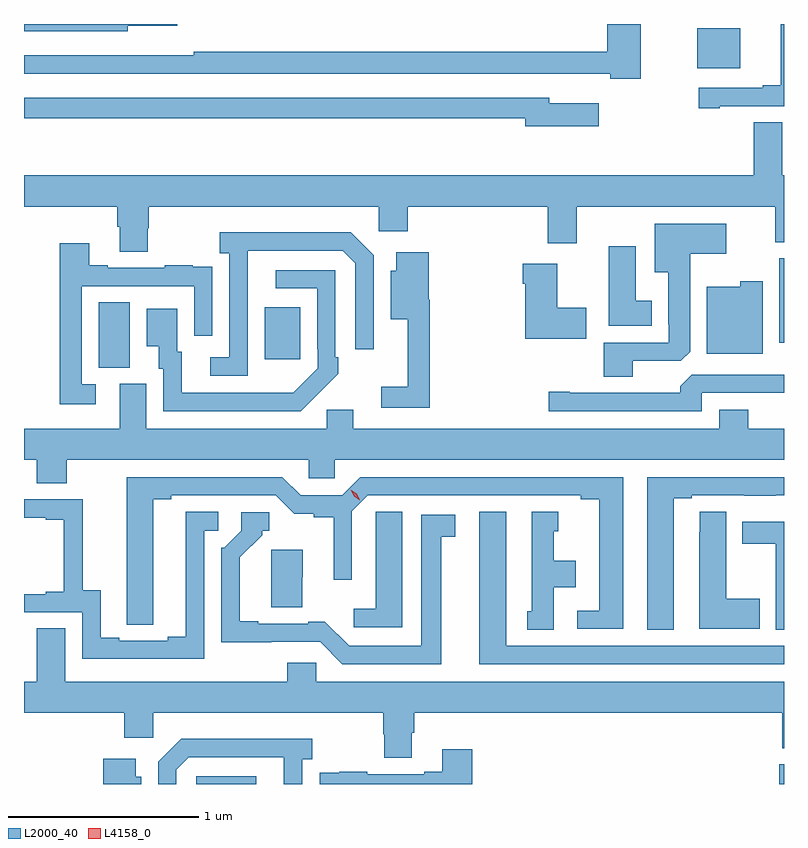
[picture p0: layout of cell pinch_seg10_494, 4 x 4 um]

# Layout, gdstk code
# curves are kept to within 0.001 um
import gdstk
lib = gdstk.Library(unit=1e-6, precision=1e-09)
def R(c, l, rs):  # rectangles x0, y0, x1, y1
    for r in rs: c.add(gdstk.rectangle(r[:2], r[2:], *l))
def P(c, l, *ps):  # polygons
    for p in ps: c.add(gdstk.Polygon(p, *l))
L2000_40 = (2000, 40)
L4158_0 = (4158, 0)

pinch_seg10_494 = lib.new_cell('pinch_seg10_494')
R(pinch_seg10_494, L2000_40, [(240.648,1283.957,240.964,1283.997), (243.716,1283.957,243.741,1284.06), (240.134,1286.149,240.298,1286.492), (241.007,1286.193,241.195,1286.467), (243.716,1286.28,243.741,1286.724), (243.284,1287.725,243.511,1287.934)])
P(pinch_seg10_494, L2000_40, [(242.988,1287.957),(242.81,1287.957),(242.81,1287.812),(240.634,1287.812),(240.634,1287.793),(240.382,1287.793),(240.382,1287.792),(239.741,1287.792),(239.741,1287.696),(242.602,1287.696),(242.602,1287.695),(242.826,1287.695),(242.826,1287.668),(242.988,1287.668)],
  [(240.286,1287.947),(240.547,1287.947),(240.547,1287.957),(239.741,1287.957),(239.741,1287.918),(240.286,1287.918)],
  [(243.403,1287.525),(243.741,1287.525),(243.741,1287.957),(243.725,1287.957),(243.725,1287.634),(243.629,1287.634),(243.629,1287.621),(243.291,1287.621),(243.291,1287.513),(243.403,1287.513)],
  [(242.767,1287.541),(242.506,1287.541),(242.506,1287.57),(239.741,1287.57),(239.741,1287.462),(242.378,1287.462),(242.378,1287.419),(242.767,1287.419)],
  [(240.393,1286.883),(240.398,1286.883),(240.398,1286.996),(241.608,1286.996),(241.608,1286.865),(241.76,1286.865),(241.76,1286.996),(242.498,1286.996),(242.498,1286.802),(242.65,1286.802),(242.65,1286.996),(243.695,1286.996),(243.695,1286.809),(243.741,1286.809),(243.741,1287.16),(243.733,1287.16),(243.733,1287.44),(243.581,1287.44),(243.581,1287.16),(239.741,1287.16),(239.741,1286.996),(240.233,1286.996),(240.233,1286.89),(240.245,1286.89),(240.245,1286.758),(240.393,1286.758)],
  [(242.944,1286.184),(243.198,1286.184),(243.247,1286.233),(243.247,1286.747),(243.436,1286.747),(243.436,1286.905),(243.062,1286.905),(243.062,1286.651),(243.131,1286.651),(243.131,1286.377),(243.135,1286.377),(243.135,1286.28),(242.792,1286.28),(242.792,1286.101),(242.944,1286.101)],
  [(240.918,1286.563),(240.919,1286.763),(241.419,1286.763),(241.485,1286.697),(241.485,1286.244),(241.581,1286.244),(241.581,1286.739),(241.46,1286.86),(240.771,1286.86),(240.771,1286.75),(240.822,1286.75),(240.822,1286.202),(240.72,1286.202),(240.72,1286.106),(240.918,1286.106)],
  [(240.118,1286.061),(240.045,1286.061),(240.045,1286.577),(240.636,1286.577),(240.636,1286.316),(240.732,1286.316),(240.732,1286.57),(240.731,1286.57),(240.731,1286.679),(240.629,1286.679),(240.629,1286.686),(240.481,1286.686),(240.481,1286.673),(240.181,1286.673),(240.181,1286.686),(240.085,1286.686),(240.085,1286.803),(239.929,1286.803),(239.929,1285.956),(240.118,1285.956)],
  [(243.046,1286.5),(242.962,1286.5),(242.962,1286.788),(242.819,1286.788),(242.819,1286.369),(243.046,1286.369)],
  [(241.877,1286.506),(241.871,1286.506),(241.871,1286.755),(241.7,1286.755),(241.7,1286.659),(241.67,1286.659),(241.67,1286.402),(241.76,1286.402),(241.76,1286.047),(241.62,1286.047),(241.62,1285.938),(241.877,1285.938)],
  [(242.701,1286.463),(242.548,1286.463),(242.548,1286.695),(242.366,1286.695),(242.366,1286.591),(242.378,1286.591),(242.378,1286.3),(242.701,1286.3)],
  [(241.289,1286.011),(241.29,1286.01),(241.395,1286.115),(241.395,1286.203),(241.38,1286.203),(241.38,1286.661),(241.065,1286.661),(241.065,1286.565),(241.284,1286.565),(241.284,1286.245),(241.287,1286.245),(241.287,1286.145),(241.159,1286.017),(240.571,1286.016),(240.571,1286.232),(240.547,1286.232),(240.547,1286.458),(240.386,1286.458),(240.386,1286.261),(240.449,1286.261),(240.449,1286.142),(240.474,1286.142),(240.474,1285.92),(241.198,1285.92)],
  [(243.628,1286.602),(243.51,1286.602),(243.51,1286.575),(243.335,1286.575),(243.335,1286.222),(243.628,1286.222)],
  [(243.309,1286.016),(243.741,1286.016),(243.741,1286.112),(243.255,1286.112),(243.194,1286.05),(243.194,1286.016),(242.614,1286.016),(242.614,1286.021),(242.502,1286.021),(242.502,1285.92),(243.309,1285.92)],
  [(239.967,1285.664),(241.239,1285.664),(241.239,1285.566),(241.377,1285.566),(241.377,1285.664),(243.741,1285.664),(243.741,1285.828),(243.554,1285.828),(243.554,1285.927),(243.401,1285.927),(243.401,1285.828),(241.474,1285.828),(241.474,1285.926),(241.335,1285.926),(241.335,1285.828),(240.385,1285.828),(240.385,1286.064),(240.245,1286.064),(240.245,1285.828),(239.741,1285.828),(239.741,1285.664),(239.807,1285.664),(239.807,1285.54),(239.967,1285.54)],
  [(243.16,1285.461),(243.256,1285.461),(243.256,1285.476),(243.532,1285.476),(243.532,1285.475),(243.698,1285.475),(243.698,1285.476),(243.741,1285.476),(243.741,1285.572),(243.02,1285.572),(243.02,1284.769),(243.16,1284.769)],
  [(242.896,1285.572),(241.511,1285.572),(241.415,1285.476),(241.197,1285.476),(241.101,1285.572),(240.281,1285.572),(240.282,1284.796),(240.421,1284.796),(240.421,1285.456),(240.517,1285.456),(240.517,1285.476),(241.065,1285.476),(241.163,1285.379),(241.266,1285.379),(241.266,1285.36),(241.37,1285.36),(241.37,1285.032),(241.467,1285.032),(241.467,1285.392),(241.551,1285.476),(242.672,1285.476),(242.672,1285.456),(242.768,1285.456),(242.768,1284.87),(242.652,1284.87),(242.652,1284.774),(242.896,1284.774)],
  [(240.69,1285.29),(240.763,1285.29),(240.763,1285.391),(240.593,1285.391),(240.593,1284.731),(240.497,1284.731),(240.497,1284.711),(240.241,1284.711),(240.241,1284.726),(240.145,1284.726),(240.145,1284.977),(240.051,1284.977),(240.051,1285.455),(239.741,1285.455),(239.741,1285.359),(239.855,1285.359),(239.855,1285.347),(239.951,1285.347),(239.951,1284.97),(239.855,1284.97),(239.855,1284.957),(239.741,1284.957),(239.741,1284.861),(240.048,1284.861),(240.048,1284.615),(240.69,1284.615)],
  [(243.613,1284.933),(243.436,1284.933),(243.436,1285.391),(243.297,1285.391),(243.297,1285.283),(243.296,1285.283),(243.296,1284.773),(243.613,1284.773)],
  [(241.732,1285.391),(241.593,1285.391),(241.593,1285.283),(241.592,1285.283),(241.592,1284.88),(241.476,1284.88),(241.476,1284.783),(241.732,1284.783)],
  [(243.741,1284.684),(242.278,1284.684),(242.278,1285.39),(242.138,1285.39),(242.138,1284.588),(243.741,1284.588)],
  [(242.53,1284.992),(242.644,1284.992),(242.644,1285.132),(242.53,1285.132),(242.53,1285.287),(242.554,1285.287),(242.554,1285.39),(242.414,1285.39),(242.414,1284.867),(242.39,1284.867),(242.39,1284.769),(242.53,1284.769)],
  [(241.936,1285.258),(242.011,1285.258),(242.011,1285.374),(241.832,1285.374),(241.832,1284.684),(241.452,1284.684),(241.324,1284.812),(241.238,1284.812),(241.238,1284.801),(240.973,1284.801),(240.973,1284.814),(240.877,1284.814),(240.877,1285.15),(240.994,1285.267),(240.994,1285.29),(241.033,1285.29),(241.033,1285.386),(240.885,1285.386),(240.885,1285.29),(240.795,1285.2),(240.78,1285.2),(240.78,1284.704),(241.299,1284.705),(241.416,1284.588),(241.936,1284.588)],
  [(243.741,1285.338),(243.521,1285.338),(243.521,1285.222),(243.698,1285.222),(243.698,1284.769),(243.741,1284.769)],
  [(241.206,1285.044),(241.207,1285.044),(241.207,1285.189),(241.043,1285.189),(241.043,1284.886),(241.206,1284.886)],
  [(241.783,1284.226),(241.796,1284.226),(241.796,1284.332),(243.731,1284.332),(243.731,1284.145),(243.741,1284.145),(243.741,1284.496),(241.278,1284.496),(241.278,1284.594),(241.127,1284.594),(241.127,1284.496),(239.959,1284.496),(239.959,1284.776),(239.807,1284.776),(239.807,1284.496),(239.741,1284.496),(239.741,1284.332),(240.269,1284.332),(240.269,1284.201),(240.42,1284.201),(240.42,1284.332),(241.631,1284.332),(241.631,1284.219),(241.636,1284.219),(241.636,1284.094),(241.783,1284.094)],
  [(240.543,1284.033),(240.609,1284.099),(241.109,1284.099),(241.109,1283.957),(241.206,1283.957),(241.206,1284.086),(241.258,1284.086),(241.258,1284.196),(240.568,1284.196),(240.447,1284.075),(240.447,1283.957),(240.543,1283.957)],
  [(242.099,1284.139),(241.943,1284.139),(241.943,1284.022),(241.847,1284.022),(241.847,1284.009),(241.547,1284.009),(241.547,1284.022),(241.399,1284.022),(241.399,1284.015),(241.297,1284.015),(241.297,1283.957),(242.099,1283.957)],
  [(240.358,1283.995),(240.328,1283.995),(240.328,1284.091),(240.158,1284.091),(240.158,1283.957),(240.358,1283.957)])
P(pinch_seg10_494, L4158_0, [(241.509,1285.451),(241.478,1285.472),(241.462,1285.506),(241.462,1285.506),(241.462,1285.506),(241.493,1285.485),(241.509,1285.451),(241.509,1285.451)])

lib.write_gds('pinch_seg10_494.gds')
